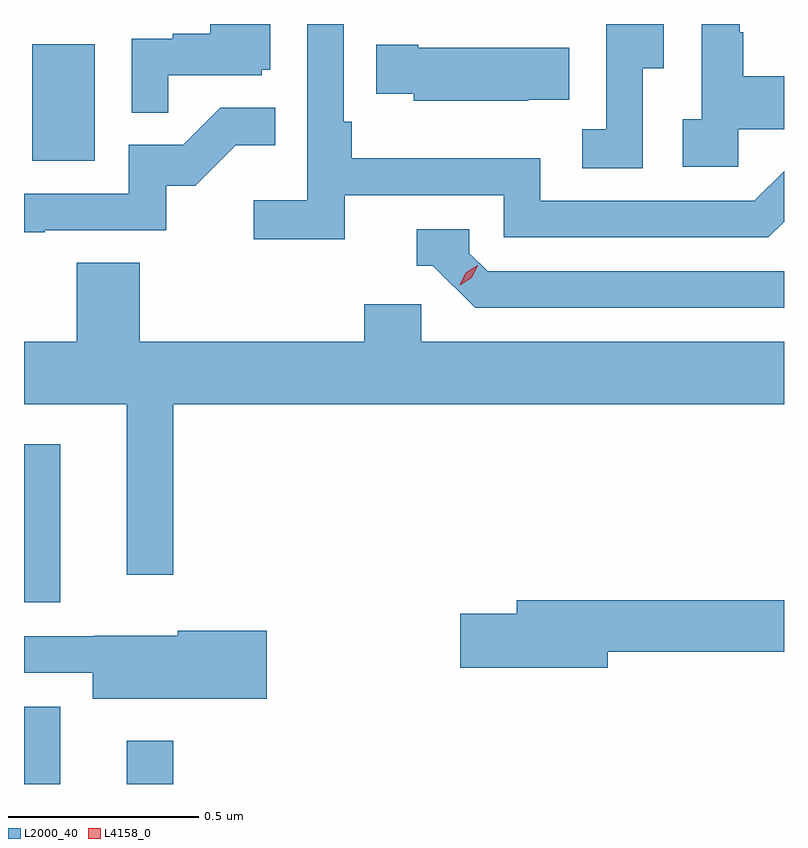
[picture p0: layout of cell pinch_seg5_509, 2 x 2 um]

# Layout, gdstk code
import gdstk
lib = gdstk.Library(unit=1e-6, precision=1e-09)
def R(c, l, rs):  # rectangles x0, y0, x1, y1
    for r in rs: c.add(gdstk.rectangle(r[:2], r[2:], *l))
def P(c, l, *ps):  # polygons
    for p in ps: c.add(gdstk.Polygon(p, *l))
L2000_40 = (2000, 40)
L4158_0 = (4158, 0)

pinch_seg5_509 = lib.new_cell('pinch_seg5_509')
R(pinch_seg5_509, L2000_40, [(902.338,851.764,902.434,851.967), (902.609,851.764,902.731,851.878), (902.338,852.242,902.434,852.658), (902.36,853.404,902.524,853.711)])
P(pinch_seg5_509, L2000_40, [(903.182,853.314),(903.6,853.314),(903.6,853.203),(904.297,853.203),(904.338,853.244),(904.338,853.377),(904.26,853.299),(903.696,853.299),(903.696,853.411),(903.2,853.411),(903.2,853.507),(903.18,853.507),(903.18,853.764),(903.084,853.764),(903.084,853.3),(902.943,853.3),(902.943,853.198),(903.182,853.198)],
  [(904.218,853.487),(904.338,853.487),(904.338,853.627),(904.231,853.627),(904.231,853.742),(904.221,853.742),(904.221,853.764),(904.122,853.764),(904.122,853.514),(904.071,853.514),(904.071,853.389),(904.218,853.389)],
  [(903.966,853.648),(904.021,853.648),(904.021,853.764),(903.87,853.764),(903.87,853.487),(903.807,853.487),(903.807,853.384),(903.966,853.384)],
  [(902.717,853.629),(902.964,853.629),(902.964,853.644),(902.986,853.644),(902.986,853.764),(902.828,853.764),(902.828,853.738),(902.729,853.738),(902.729,853.725),(902.622,853.725),(902.622,853.531),(902.717,853.531)],
  [(903.665,853.565),(903.773,853.565),(903.773,853.702),(903.376,853.702),(903.376,853.71),(903.265,853.71),(903.265,853.58),(903.363,853.58),(903.363,853.562),(903.665,853.562)],
  [(902.393,853.221),(902.712,853.221),(902.712,853.338),(902.788,853.338),(902.895,853.445),(902.999,853.445),(902.999,853.544),(902.855,853.544),(902.757,853.446),(902.613,853.446),(902.613,853.317),(902.338,853.317),(902.338,853.216),(902.393,853.216)],
  [(904.338,853.113),(903.558,853.113),(903.51,853.161),(903.51,853.224),(903.371,853.224),(903.371,853.128),(903.414,853.128),(903.525,853.017),(904.338,853.017)],
  [(902.731,852.764),(904.338,852.764),(904.338,852.928),(903.384,852.928),(903.384,853.026),(903.233,853.026),(903.233,852.928),(902.642,852.928),(902.642,853.136),(902.477,853.136),(902.477,852.928),(902.338,852.928),(902.338,852.764),(902.609,852.764),(902.609,852.315),(902.731,852.315)],
  [(903.874,852.112),(904.338,852.112),(904.338,852.248),(903.635,852.248),(903.635,852.212),(903.486,852.212),(903.486,852.07),(903.874,852.07)],
  [(902.977,852.167),(902.742,852.167),(902.742,852.154),(902.523,852.154),(902.523,852.153),(902.338,852.153),(902.338,852.057),(902.519,852.057),(902.519,851.989),(902.977,851.989)])
P(pinch_seg5_509, L4158_0, [(903.485,853.076),(903.485,853.076),(903.501,853.109),(903.532,853.129),(903.532,853.129),(903.532,853.128),(903.516,853.096),(903.485,853.076)])

lib.write_gds('pinch_seg5_509.gds')
